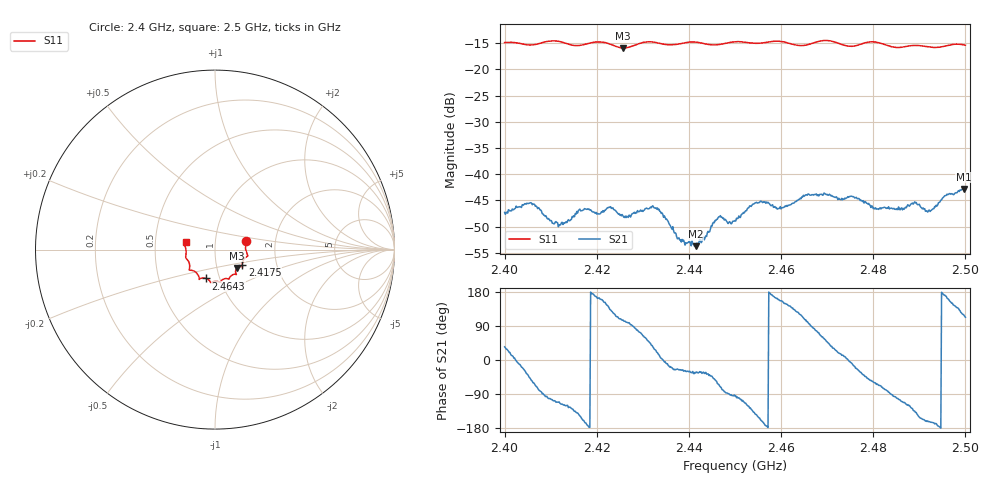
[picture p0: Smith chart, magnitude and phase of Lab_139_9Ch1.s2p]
# Hz S RI R 50
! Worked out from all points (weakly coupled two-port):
!   601 points, 2.4 GHz to 2.5 GHz, reference 50 ohm
!   highest |S21| = -42.79 dB at 2.4997 GHz (marker M1); lowest = -53.7 dB at 2.4415 GHz (marker M2)
!   lowest |S11| = -15.9 dB at 2.4257 GHz (marker M3), VSWR 1.38, Z = 62.5 - j13.1 ohm
!   |S11| at or under -10 dB: start of sweep to end of sweep
!   S12 and S22 are empty: the file has one direction only
!   S11 on the Smith chart (normalised r, x): 2.4 GHz: 1.41, +0.14; 2.4175 GHz: 1.33, -0.23; 2.4643 GHz: 0.86, -0.28; 2.5 GHz: 0.72, +0.06
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2.4e9  0.1729 0.0489  0.00356 0.00247  0 0  0 0
2.406e9  0.1706 0.00195  0.00287 -0.00424  0 0  0 0
2.412167e9  0.1791 -0.0378  -0.00144 -0.00297  0 0  0 0
2.416667e9  0.1529 -0.0742  -0.00401 -0.00203  0 0  0 0
2.4175e9  0.1517 -0.0836  -0.00453 -0.00115  0 0  0 0
2.423e9  0.1455 -0.0941  -0.0033 0.00364  0 0  0 0
2.425667e9  0.1228 -0.102  -0.00109 0.00387  0 0  0 0
2.433333e9  0.1133 -0.1372  0.00441 0.00126  0 0  0 0
2.437833e9  0.0831 -0.1531  0.00223 -0.00109  0 0  0 0
2.4415e9  0.076 -0.1649  0.00172 -0.00115  0 0  0 0
2.446333e9  0.0451 -0.1657  0.00173 -0.00346  0 0  0 0
2.45e9  0.0291 -0.181  -0.000331 -0.00361  0 0  0 0
2.454333e9  0.00784 -0.1767  -0.00418 -0.00328  0 0  0 0
2.459667e9  -0.024 -0.1832  -0.00436 0.00184  0 0  0 0
2.464333e9  -0.0499 -0.1606  -0.00278 0.00513  0 0  0 0
2.466667e9  -0.0756 -0.1591  0.000258 0.00638  0 0  0 0
2.475333e9  -0.1097 -0.1239  0.00611 -0.000921  0 0  0 0
2.483333e9  -0.1409 -0.0902  0.000415 -0.00489  0 0  0 0
2.488833e9  -0.1625 -0.046  -0.00372 -0.00382  0 0  0 0
2.492167e9  -0.1612 -0.0237  -0.00435 -0.00136  0 0  0 0
2.499667e9  -0.1659 0.0408  -0.00346 0.00637  0 0  0 0
2.5e9  -0.1641 0.0431  -0.00279 0.0066  0 0  0 0
